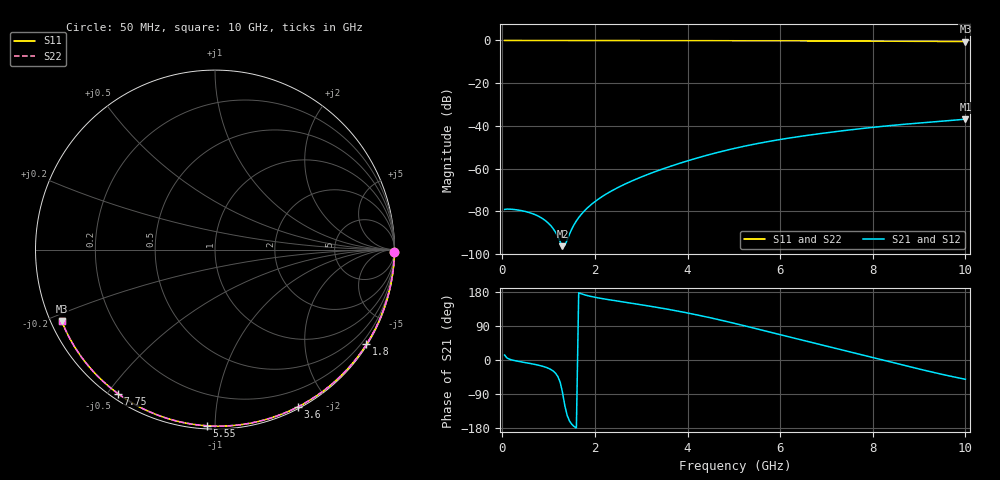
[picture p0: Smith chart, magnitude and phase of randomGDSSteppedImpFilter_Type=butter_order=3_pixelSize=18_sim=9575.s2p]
! freq	dB(S11)	phase(S11)	dB(S12)	phase(S12)
!  dB(S21)	phase(S21)	dB(S22)	phase(S22)
!S-par simulation data
#  GHz  S  DB  R 50
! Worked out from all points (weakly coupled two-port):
!   200 points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, 50 MHz to 10 GHz, reference 50 ohm
!   highest |S21| = -36.85 dB at 10 GHz (marker M1); lowest = -96.3 dB at 1.3 GHz (marker M2)
!   lowest |S11| = -0.5 dB at 10 GHz (marker M3), VSWR 33.58, Z = 1.56 - j11 ohm
!   |S11| at or under -10 dB: nowhere
!   |S22| runs from -0.5 to 0.0 dB; largest |S21 - S12| = 0
!   S11 on the Smith chart (normalised r, x): 50 MHz: open; 1.8 GHz: 0.03, -3.48; 3.6 GHz: 0.02, -1.65; 5.55 GHz: 0.02, -0.96; 7.75 GHz: 0.02, -0.53; 10 GHz: 0.03, -0.22
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0.05  -0.00 -0.9  -79.13 13.2  -79.13 13.2  -0.00 -0.9
0.2  -0.00 -3.6  -79.06 0.4  -79.06 0.4  -0.00 -3.6
0.5  -0.01 -9.0  -80.11 -6.9  -80.11 -6.9  -0.01 -9.0
1.3  -0.03 -23.3  -96.35 -85.6  -96.35 -85.6  -0.03 -23.3
1.75  -0.04 -31.2  -80.35 172.9  -80.35 172.9  -0.04 -31.2
1.8  -0.04 -32.0  -79.23 171.2  -79.23 171.2  -0.04 -32.0
1.9  -0.04 -33.8  -77.23 168.1  -77.23 168.1  -0.04 -33.8
2.05  -0.05 -36.4  -74.68 164.4  -74.68 164.4  -0.05 -36.4
2.2  -0.05 -38.9  -72.51 161.2  -72.51 161.2  -0.05 -38.9
2.4  -0.05 -42.4  -69.99 157.2  -69.99 157.2  -0.05 -42.4
2.85  -0.06 -50.0  -65.31 148.7  -65.31 148.7  -0.06 -50.0
3.4  -0.08 -59.1  -60.66 137.7  -60.66 137.7  -0.08 -59.1
3.6  -0.08 -62.3  -59.16 133.4  -59.16 133.4  -0.08 -62.3
4.3  -0.10 -73.5  -54.48 116.5  -54.48 116.5  -0.10 -73.5
5.05  -0.13 -85.1  -50.37 95.6  -50.37 95.6  -0.13 -85.1
5.55  -0.15 -92.6  -48.11 80.6  -48.11 80.6  -0.15 -92.6
6.1  -0.18 -100.7  -46.03 63.8  -46.03 63.8  -0.18 -100.7
6.7  -0.21 -109.3  -44.11 45.7  -44.11 45.7  -0.21 -109.3
7.75  -0.29 -124.0  -41.28 14.2  -41.28 14.2  -0.29 -124.0
8.35  -0.34 -132.3  -39.92 -4.1  -39.92 -4.1  -0.34 -132.3
9.2  -0.42 -144.0  -38.32 -29.6  -38.32 -29.6  -0.42 -144.0
10  -0.52 -155.1  -36.85 -50.9  -36.85 -50.9  -0.52 -155.1
